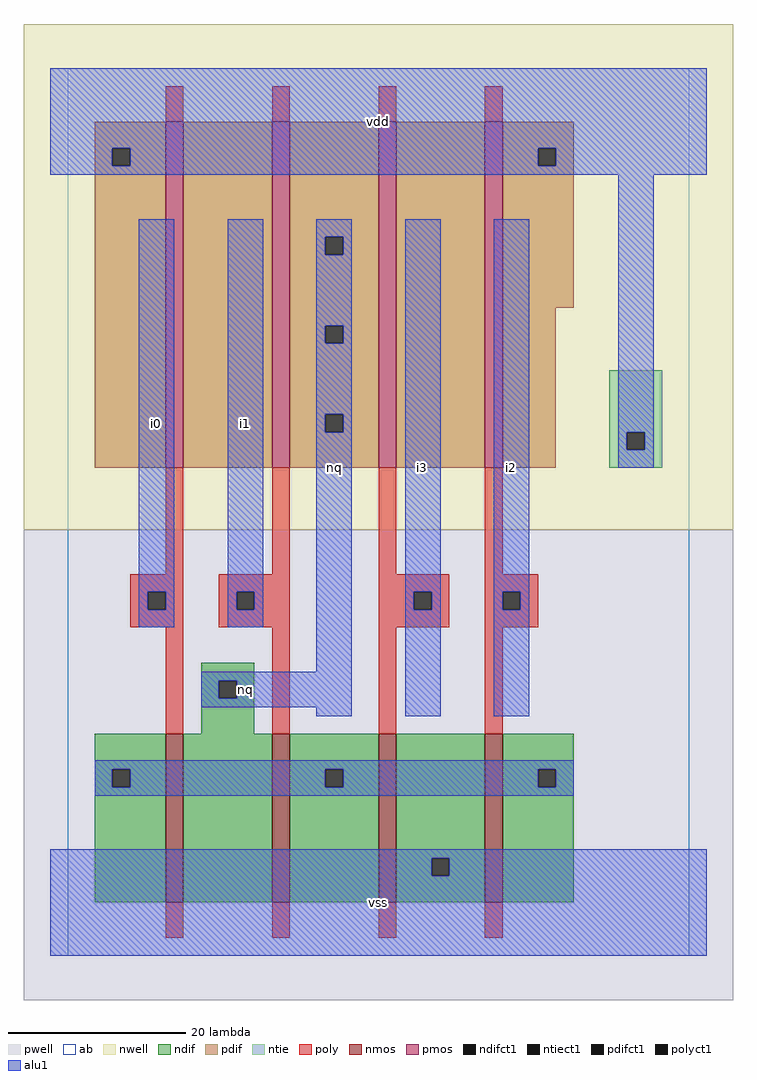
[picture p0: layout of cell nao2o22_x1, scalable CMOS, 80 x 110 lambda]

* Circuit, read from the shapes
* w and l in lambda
.subckt nao2o22_x1 i0 i1 i2 i3 nq vdd vss
M1 nq i0 n1 VSUBS nfet w=19 l=2
M2 n1 i1 nq VSUBS nfet w=19 l=2
M3 vss i3 n1 VSUBS nfet w=19 l=2
M4 n1 i2 vss VSUBS nfet w=19 l=2
M5 n2 i0 vdd vdd pfet w=39 l=2
M6 nq i1 n2 vdd pfet w=39 l=2
M7 n3 i3 nq vdd pfet w=39 l=2
M8 vdd i2 n3 vdd pfet w=39 l=2
.ends

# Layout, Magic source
magic
tech scmos
<< ab >>
rect 0 0 70 100
<< nwell >>
rect -5 48 75 105
<< pwell >>
rect -5 -5 75 48
<< poly >>
rect 11 94 13 98
rect 23 94 25 98
rect 35 94 37 98
rect 47 94 49 98
rect 11 43 13 55
rect 23 43 25 55
rect 7 41 13 43
rect 7 39 9 41
rect 11 39 13 41
rect 7 37 13 39
rect 17 41 25 43
rect 17 39 19 41
rect 21 39 25 41
rect 17 37 25 39
rect 11 25 13 37
rect 23 25 25 37
rect 35 43 37 55
rect 47 43 49 55
rect 35 41 43 43
rect 35 39 39 41
rect 41 39 43 41
rect 35 37 43 39
rect 47 41 53 43
rect 47 39 49 41
rect 51 39 53 41
rect 47 37 53 39
rect 35 25 37 37
rect 47 25 49 37
rect 11 2 13 6
rect 23 2 25 6
rect 35 2 37 6
rect 47 2 49 6
<< ndif >>
rect 15 31 21 33
rect 15 29 17 31
rect 19 29 21 31
rect 15 25 21 29
rect 3 21 11 25
rect 3 19 5 21
rect 7 19 11 21
rect 3 6 11 19
rect 13 6 23 25
rect 25 21 35 25
rect 25 19 29 21
rect 31 19 35 21
rect 25 6 35 19
rect 37 11 47 25
rect 37 9 41 11
rect 43 9 47 11
rect 37 6 47 9
rect 49 21 57 25
rect 49 19 53 21
rect 55 19 57 21
rect 49 6 57 19
<< pdif >>
rect 3 91 11 94
rect 3 89 5 91
rect 7 89 11 91
rect 3 55 11 89
rect 13 55 23 94
rect 25 81 35 94
rect 25 79 29 81
rect 31 79 35 81
rect 25 71 35 79
rect 25 69 29 71
rect 31 69 35 71
rect 25 61 35 69
rect 25 59 29 61
rect 31 59 35 61
rect 25 55 35 59
rect 37 55 47 94
rect 49 91 57 94
rect 49 89 53 91
rect 55 89 57 91
rect 49 73 57 89
rect 49 55 55 73
<< alu1 >>
rect -2 91 72 100
rect -2 89 5 91
rect 7 89 53 91
rect 55 89 72 91
rect -2 88 72 89
rect 8 41 12 83
rect 8 39 9 41
rect 11 39 12 41
rect 8 37 12 39
rect 18 41 22 83
rect 18 39 19 41
rect 21 39 22 41
rect 18 37 22 39
rect 28 81 32 83
rect 28 79 29 81
rect 31 79 32 81
rect 28 71 32 79
rect 28 69 29 71
rect 31 69 32 71
rect 28 61 32 69
rect 28 59 29 61
rect 31 59 32 61
rect 28 32 32 59
rect 15 31 32 32
rect 15 29 17 31
rect 19 29 32 31
rect 15 28 32 29
rect 28 27 32 28
rect 38 41 42 83
rect 38 39 39 41
rect 41 39 42 41
rect 38 27 42 39
rect 48 41 52 83
rect 62 59 66 88
rect 62 57 63 59
rect 65 57 66 59
rect 62 55 66 57
rect 48 39 49 41
rect 51 39 52 41
rect 48 27 52 39
rect 3 21 57 22
rect 3 19 5 21
rect 7 19 29 21
rect 31 19 53 21
rect 55 19 57 21
rect 3 18 57 19
rect -2 11 72 12
rect -2 9 41 11
rect 43 9 72 11
rect -2 0 72 9
<< ntie >>
rect 61 59 67 66
rect 61 57 63 59
rect 65 57 67 59
rect 61 55 67 57
<< nmos >>
rect 11 6 13 25
rect 23 6 25 25
rect 35 6 37 25
rect 47 6 49 25
<< pmos >>
rect 11 55 13 94
rect 23 55 25 94
rect 35 55 37 94
rect 47 55 49 94
<< polyct1 >>
rect 9 39 11 41
rect 19 39 21 41
rect 39 39 41 41
rect 49 39 51 41
<< ndifct1 >>
rect 17 29 19 31
rect 5 19 7 21
rect 29 19 31 21
rect 41 9 43 11
rect 53 19 55 21
<< ntiect1 >>
rect 63 57 65 59
<< pdifct1 >>
rect 5 89 7 91
rect 29 79 31 81
rect 29 69 31 71
rect 29 59 31 61
rect 53 89 55 91
<< labels >>
rlabel alu1 10 60 10 60 6 i0
rlabel alu1 20 30 20 30 6 nq
rlabel alu1 20 60 20 60 6 i1
rlabel alu1 30 55 30 55 6 nq
rlabel alu1 35 6 35 6 6 vss
rlabel alu1 40 55 40 55 6 i3
rlabel alu1 50 55 50 55 6 i2
rlabel alu1 35 94 35 94 6 vdd
<< end >>
